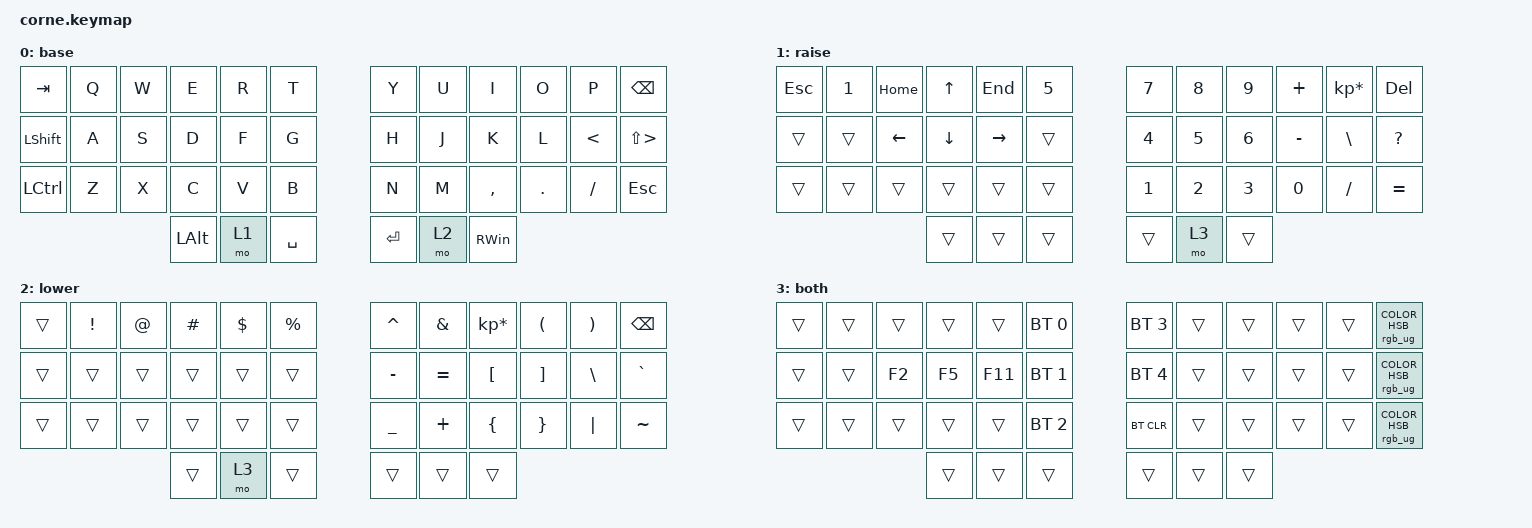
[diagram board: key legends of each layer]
/*
 * Copyright (c) 2020 The ZMK Contributors
 *
 * SPDX-License-Identifier: MIT
 */

#include <behaviors.dtsi>
#include <dt-bindings/zmk/keys.h>
#include <dt-bindings/zmk/bt.h>
#include <dt-bindings/zmk/rgb.h>

// dt-formatter: indent = "  "
// dt-formatter: reindentMultilineIntegerCells = "dedent"

/ {
  behaviors {
    hm: homerow_mods {
      compatible = "zmk,behavior-hold-tap";
      label = "HOMEROW_MODS";
      #binding-cells = <2>;
      tapping-term-ms = <150>;
      quick-tap-ms = <0>;
      flavor = "tap-preferred";
      bindings =
        <&kp>,
        <&kp>;
    };
  };

  combos {
    compatible = "zmk,combos";

    tab {
      bindings = <&trans>;
      key-positions = <2 3>;
    };

    ctrl {
      bindings = <&kp LCTRL>;
      key-positions = <26 27>;
    };

    cmd {
      bindings = <&kp LCMD>;
      key-positions = <37 38>;
    };

    alt {
      bindings = <&kp LEFT_ALT>;
      key-positions = <39 40>;
    };

    shift {
      bindings = <&kp LSHIFT>;
      key-positions = <8 9>;
    };

    caps_word {
      bindings = <&caps_word>;
      key-positions = <17 18>;
    };

    delete {
      bindings = <&kp DELETE>;
      key-positions = <32 33>;
    };

    save {
      bindings = <&kp C_AC_SAVE>;
      key-positions = <15 14>;
    };

    copy {
      bindings = <&kp C_AC_COPY>;
      key-positions = <16 15>;
    };

    paste {
      bindings = <&kp C_AC_PASTE>;
      key-positions = <13 14>;
    };
  };

  macros {
    zed_em_kay: zed_em_kay {
      compatible = "zmk,behavior-macro";
      label = "ZM_zed_em_kay";
      #binding-cells = <0>;
      bindings =
        <&macro_press>,
        <&kp LSHFT>,
        <&macro_tap>,
        <&kp Z &kp M &kp K>,
        <&macro_release>,
        <&kp LSHFT>;
    };
  };

  keymap {
    compatible = "zmk,keymap";

    base {
      bindings = <
  &kp TAB  &kp Q  &kp W         &kp E  &kp R      &kp T      &kp Y  &kp U          &kp I    &kp O     &kp P              &kp BSPC
&kp LSHFT  &kp A  &kp S         &kp D  &kp F      &kp G      &kp H  &kp J          &kp K    &kp L    &kp LT  &kp LS(GREATER_THAN)
&kp LCTRL  &kp Z  &kp X         &kp C  &kp V      &kp B      &kp N  &kp M      &kp COMMA  &kp DOT  &kp FSLH               &kp ESC
                         &kp LEFT_ALT  &mo 1  &kp SPACE    &kp RET  &mo 2  &kp RIGHT_WIN
      >;
    };

    raise {
      bindings = <
&kp ESC  &kp N1  &kp HOME    &kp UP    &kp END  &kp N5    &kp NUMBER_7  &kp NUMBER_8  &kp NUMBER_9      &kp PLUS  &kp KP_MULTIPLY       &kp DEL
 &trans  &trans  &kp LEFT  &kp DOWN  &kp RIGHT  &trans    &kp NUMBER_4  &kp NUMBER_5  &kp NUMBER_6     &kp MINUS    &kp BACKSLASH  &kp QUESTION
 &trans  &trans    &trans    &trans     &trans  &trans    &kp NUMBER_1  &kp NUMBER_2  &kp NUMBER_3  &kp NUMBER_0        &kp SLASH     &kp EQUAL
                             &trans     &trans  &trans          &trans         &mo 3        &trans
      >;
    };

    lower {
      bindings = <
&trans  &kp EXCL  &kp AT  &kp HASH  &kp DLLR  &kp PRCNT    &kp CARET   &kp AMPS  &kp KP_MULTIPLY  &kp LPAR  &kp RPAR   &kp BSPC
&trans    &trans  &trans    &trans    &trans     &trans    &kp MINUS  &kp EQUAL         &kp LBKT  &kp RBKT  &kp BSLH  &kp GRAVE
&trans    &trans  &trans    &trans    &trans     &trans    &kp UNDER   &kp PLUS         &kp LBRC  &kp RBRC  &kp PIPE  &kp TILDE
                            &trans     &mo 3     &trans       &trans     &trans           &trans
      >;
    };

    both {
      bindings = <
&trans  &trans  &trans  &trans   &trans  &bt BT_SEL 0    &bt BT_SEL 3  &trans  &trans  &trans  &trans    &rgb_ug RGB_COLOR_HSB(0,60,50)
&trans  &trans  &kp F2  &kp F5  &kp F11  &bt BT_SEL 1    &bt BT_SEL 4  &trans  &trans  &trans  &trans  &rgb_ug RGB_COLOR_HSB(120,60,50)
&trans  &trans  &trans  &trans   &trans  &bt BT_SEL 2      &bt BT_CLR  &trans  &trans  &trans  &trans  &rgb_ug RGB_COLOR_HSB(240,60,50)
                        &trans   &trans        &trans          &trans  &trans  &trans
      >;
    };
  };
};
